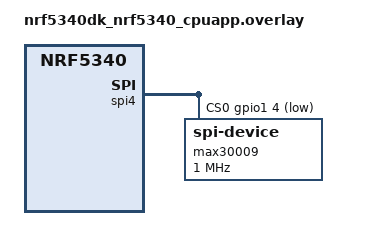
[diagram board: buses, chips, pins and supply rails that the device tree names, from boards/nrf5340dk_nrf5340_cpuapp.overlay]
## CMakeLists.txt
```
cmake_minimum_required(VERSION 3.20.0)
find_package(Zephyr REQUIRED HINTS $ENV{ZEPHYR_BASE})

project(MAX30009_nRF5340DK)

target_sources(app PRIVATE 
                src/main.c
                src/spi_functions.c
                src/max30009_bioz.c)
```

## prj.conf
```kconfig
CONFIG_SPI=y
CONFIG_GPIO=y
CONFIG_LOG=y
CONFIG_LOG_DEFAULT_LEVEL=3
CONFIG_SPI_NRFX=y
CONFIG_GPIO_NRFX=y

CONFIG_LOG_BUFFER_SIZE=4096
CONFIG_LOG_PROCESS_THREAD_STACK_SIZE=2048

CONFIG_CBPRINTF_FP_SUPPORT=y
CONFIG_FPU=y
CONFIG_NEWLIB_LIBC=y

CONFIG_CONSOLE_SUBSYS=y
CONFIG_CONSOLE_GETCHAR=y
```

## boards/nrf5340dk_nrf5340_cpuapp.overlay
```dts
&spi4 {
    status = "okay";
    cs-gpios = <&gpio1 4 GPIO_ACTIVE_LOW>;  /* P1.04 */

    max30009: max30009@0 {
        compatible = "spi-device";
        reg = <0>;
        spi-max-frequency = <1000000>;  /* 1 MHz */
    };
};
```

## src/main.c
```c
#include <zephyr/kernel.h>
#include <zephyr/logging/log.h>
#include <zephyr/console/console.h>
#include <stdbool.h>
#include <errno.h>
#include <math.h>

#include "spi_functions.h"
#include "max30009_bioz.h"

#define M_PI 3.14159265358979323846
LOG_MODULE_REGISTER(app, LOG_LEVEL_DBG);

#define NUM_SAMPLES 30

/* ------------------------------------------------------------------ */
/*  Arvutused                                                         */
/* ------------------------------------------------------------------ */

/// @brief Teisendab I ja Q näidud impedantsiks oomi-des, võttes arvesse seadistatud gain'i ja i_drive väärtust.
/// @param i_val I komponent
/// @param q_val Q komponent
/// @param gain Võimenduse väärtus
/// @param i_drive ergutusvoolu tugevuse väärtus
/// @return Impedants oomi-des
static double calc_z(int32_t i_val, int32_t q_val, double gain, double i_drive)
{
    double mag = sqrt((double)i_val * i_val + (double)q_val * q_val);
    double denom = 524288.0 * gain * (2.0 / M_PI) * i_drive;
    return mag / denom;
}

/// @brief Arvutab I ja Q näidude vahelise faasi
/// @param i_val I komponent
/// @param q_val Q komponent
/// @return Faas kraadides
static double calc_phase(int32_t i_val, int32_t q_val)
{
    return atan2((double)q_val, (double)i_val) * (180.0 / M_PI);
}

/// @brief Kontrollib, kas I või Q väärtus on lähedal maksimaalsele mõõdetavale väärtusele, mis viitab signaali küllastumisele.
/// @param i_val I komponent
/// @param q_val Q komponent
/// @return 1, kui väärtus on küllastatud, 0 muidu
static int is_saturated(int32_t i_val, int32_t q_val)
{
    if (i_val >= 507900 || q_val >= 507900) return 1;
    if (i_val <= -507900 || q_val <= -507900) return 1;
    return 0;
}

/* FIFO tühjendamine */
/// @brief Tühjendab MAX30009 FIFO, lugedes sellest näiteid seni, kuni FIFO on kas tühi või täis vigu
static void flush_fifo(void)
{
    uint8_t raw[6];

    for (int i = 0; i < 256; i++) {
        int ret = max30009_fifo_read(raw, sizeof(raw));
        if (ret) break;

        uint32_t word = ((uint32_t)raw[0] << 16) |
                        ((uint32_t)raw[1] << 8)  |
                         (uint32_t)raw[2];
        if (word >= 0xFFFFFE) break;
    }
}

/* ------------------------------------------------------------------ */
/*  Run one config                                                    */
/* ------------------------------------------------------------------ */
/// @brief Käivitab ühe konfiguratsiooni: seadistab MAX30009, laseb süsteemil stabiliseeruda, tühjendab FIFO,
/// kogub võendeid ja prindib need Exceli-sõbralikus formaadis koos arvutatud impedantsi ja faasiga
/// @param cfg_id Konfiguratsiooni ID, mis viitab bioz_configs tabeli indeksile
/// @return 0 edukas, negatiivne viga
static int run_config(int cfg_id)
{
    const struct bioz_config_info *cfg = &bioz_configs[cfg_id];
    const struct bioz_cal_info *cal = &bioz_calibrations[max30009_get_frequency()][cfg_id];
    const char *flabel = freq_configs[max30009_get_frequency()].label;
    int ret;

    printk("\n--- Configuring: %s @ %s ---\n", cfg->label, flabel);

    ret = max30009_set_config(cfg_id);
    if (ret) {
        printk("  FAILED: %d\n", ret);
        return ret;
    }

    uint8_t r22 = read_register(0x22);
    uint8_t r24 = read_register(0x24);
    printk("  0x22=0x%02X (want 0x%02X)  0x24=0x%02X (want 0x%02X)\n",
           r22, cfg->reg_0x22, r24, cfg->reg_0x24);

    printk("  Settling 2s...\n");
    k_msleep(2000);

    flush_fifo();
    printk("  FIFO flushed.\n");

    printk("  Collecting for 2s...\n");
    k_msleep(2000);

    int32_t si[NUM_SAMPLES];
    int32_t sq[NUM_SAMPLES];
    int good = 0;
    int sat_count = 0;

    for (int i = 0; i < NUM_SAMPLES; i++) {
        struct bioz_sample s;
        ret = max30009_get_bioz_sample(&s);
        if (ret) {
            printk("  Sample %d read error: %d\n", i, ret);
            break;
        }
        si[i] = s.i;
        sq[i] = s.q;
        if (is_saturated(s.i, s.q)) sat_count++;
        good++;
    }

    printk("  Read %d/%d samples (%d saturated)\n", good, NUM_SAMPLES, sat_count);

    printk("--- EXCEL START: %s @ %s ---\n", cfg->label, flabel);
    printk("Sample\tI_raw\tQ_raw\tMagnitude\tZ_meas\tZ_corr\tPhase_deg\t"
           "Config\tFreq\tI_drive_uA\tGain_VV\tSaturated\n");

    for (int j = 0; j < good; j++) {
        double mag   = sqrt((double)si[j] * si[j] + (double)sq[j] * sq[j]);
        double z     = calc_z(si[j], sq[j], cfg->gain, cfg->i_drive);
        double z_corr = (z - cal->intercept) / cal->slope;
        double phase = calc_phase(si[j], sq[j]);
        int sat      = is_saturated(si[j], sq[j]);

        int z_i  = (int)z;
        int z_f  = (int)((z - z_i) * 100);
        if (z_f < 0) z_f = -z_f;

        /* Z_corr nii, nagu faasiga allpool tehtud*/
        int zc_neg = (z_corr < 0) ? 1 : 0;
        double zc_abs = zc_neg ? -z_corr : z_corr;
        int zc_i  = (int)zc_abs;
        int zc_f  = (int)((zc_abs - zc_i) * 100);

        /*eemalda märk; absoluut värätus; täis ja murdosa eraldi*/
        int p_neg = (phase < 0) ? 1 : 0;
        double p_abs = p_neg ? -phase : phase;
        int p_i  = (int)p_abs;
        int p_f  = (int)((p_abs - p_i) * 100);

        printk("%d\t%d\t%d\t%d\t%d.%02d\t%s%d.%02d\t%s%d.%02d\t%s\t%s\t%d\t%d\t%d\n",
               j + 1, si[j], sq[j], (int)mag,
               z_i, z_f,
               zc_neg ? "-" : "", zc_i, zc_f,
               p_neg ? "-" : "", p_i, p_f,
               cfg->label,
               flabel,
               (int)(cfg->i_drive * 1e6),
               (int)(cfg->gain),
               sat);
    }
    printk("--- EXCEL END: %s @ %s ---\n", cfg->label, flabel);

    return 0;
}

/* ------------------------------------------------------------------ */
/*  Näita registreid                                                  */
/* ------------------------------------------------------------------ */
/// @brief Loeb ja prindib kõik MAX30009 registrid, kasutades register_t struktuuri tabelit, mis sisaldab registreid ja nende nimesid
void dump_registers(void)
{
    printk("\n=== KÕIK REGISTRID ===\n");
    for (size_t i = 0; i < num_registers; i++) {
        uint8_t val = read_register(registers[i].address);
        printk("%-25s 0x%02X = 0x%02X\n",
               registers[i].name, registers[i].address, val);
    }
    printk("=====================\n");
}

/* ------------------------------------------------------------------ */
/*  Mõõda kõik konfiguratsioonid jooksva sageduse jaoks               */
/* ------------------------------------------------------------------ */
/// @brief Käivitab kõik konfiguratsioonid jooksva sageduse jaoks, kutsudes run_config funktsiooni iga konfiguratsiooni ID-ga, mis on määratletud bioz_configs tabelis
/// @param freq_idx Sageduse indeks, mis viitab freq_configs tabeli indeksile
static void run_all_configs(int freq_idx)
{
    if (freq_idx == FREQ_1KHZ) {
        run_config(BIOZ_CFG_64UA_G10);
        run_config(BIOZ_CFG_64UA_G5);
        run_config(BIOZ_CFG_64UA_G2);
        run_config(BIOZ_CFG_64UA_G1);
        run_config(BIOZ_CFG_32UA_G10);
        run_config(BIOZ_CFG_32UA_G5);
        run_config(BIOZ_CFG_32UA_G2);
        run_config(BIOZ_CFG_32UA_G1);
    } else if (freq_idx == FREQ_50KHZ) {
        run_config(BIOZ_CFG_256UA_G2);
        run_config(BIOZ_CFG_256UA_G1);
        run_config(BIOZ_CFG_128UA_G5);
        run_config(BIOZ_CFG_128UA_G2);
        run_config(BIOZ_CFG_128UA_G1);
        run_config(BIOZ_CFG_64UA_G10);
        run_config(BIOZ_CFG_64UA_G5);
        run_config(BIOZ_CFG_64UA_G2);
        run_config(BIOZ_CFG_64UA_G1);
        run_config(BIOZ_CFG_32UA_G10);
        run_config(BIOZ_CFG_32UA_G5);
        run_config(BIOZ_CFG_32UA_G2);
        run_config(BIOZ_CFG_32UA_G1);
    } else if (freq_idx == FREQ_100KHZ) {
        run_config(BIOZ_CFG_256UA_G2);
        run_config(BIOZ_CFG_256UA_G1);
        run_config(BIOZ_CFG_128UA_G5);
        run_config(BIOZ_CFG_128UA_G2);
        run_config(BIOZ_CFG_128UA_G1);
        run_config(BIOZ_CFG_64UA_G10);
        run_config(BIOZ_CFG_64UA_G5);
        run_config(BIOZ_CFG_64UA_G2);
        run_config(BIOZ_CFG_64UA_G1);
        run_config(BIOZ_CFG_32UA_G10);
        run_config(BIOZ_CFG_32UA_G5);
        run_config(BIOZ_CFG_32UA_G2);
        run_config(BIOZ_CFG_32UA_G1);
    }
}

/* ------------------------------------------------------------------ */
/*  Sageduse menu                                                    */
/* ------------------------------------------------------------------ */
/// @brief Kuvab sageduse valiku menüü, kus kasutaja saab valida ühe kolme sageduse vahel või väljuda.
/// @return Valitud sageduse indeks või -1, kui kasutaja valib väljumise.
static int show_freq_menu(void)
{
    while (true) {
        printk("\n");
        printk("\n\n");
        printk("================================================\n");
        printk("  MAX30009 - Bioimpedantsi mootmine\n");
        printk("  %d voendit konfugratsiooni kohta\n", NUM_SAMPLES);
        printk("================================================\n\n");
        printk("=== SAGEDUSE VALIK ===\n");
        printk(" 1 - 1 kHz\n");
        printk(" 2 - 50 kHz\n");
        printk(" 3 - 100 kHz\n");
        printk(" q - Quit\n");
        printk("Select: ");

        uint8_t opt = console_getchar();
        printk("%c\n", opt);

        switch (opt) {
        case '1': return FREQ_1KHZ;
        case '2': return FREQ_50KHZ;
        case '3': return FREQ_100KHZ;
        case 'q':
        case 'Q': return -1;
        default:
            printk("Invalid option: %c\n", opt);
        }
    }
}

/* ------------------------------------------------------------------ */
/*  Konfiguratsiooni menu — sagedusepõhine                            */
/* ------------------------------------------------------------------ */
/// @brief Kuvab konfiguratsiooni valiku menüü, mis on kohandatud vastavalt valitud sagedusele, ja võimaldab kasutajal valida konfiguratsiooni,
/// mõõta kõiki konfiguratsioone, kuvada registreid, vahetada sagedust või väljuda
/// @param freq_idx Sageduse indeks, mis viitab freq_configs tabeli indeksile
/// @return Valitud konfiguratsiooni ID või -1, kui kasutaja valib väljumise
static int show_config_menu(int freq_idx)
{
    const char *flabel = freq_configs[freq_idx].label;

    while (true) {
        printk("\n");
        printk("=== MENÜÜ (sagedus: %s) ===\n", flabel);

        /* --- kuva menüü vastavalt sagedusele --- */
        if (freq_idx == FREQ_1KHZ) {
            printk(" 0 - 64uA  G10  (AVG Z viga -0,005 %)\n");
            printk(" 1 - 64uA  G5   (AVG Z viga -0,005 %)\n");
            printk(" 2 - 64uA  G2   (AVG Z viga  0,002 %)\n");
            printk(" 3 - 64uA  G1   (AVG Z viga -0,003 %)\n");
            printk(" 4 - 32uA  G10  (AVG Z viga -0,007 %)\n");
            printk(" 5 - 32uA  G5   (AVG Z viga  0,000 %)\n");
            printk(" 6 - 32uA  G2   (AVG Z viga -0,004 %)\n");
            printk(" 7 - 32uA  G1   (AVG Z viga  0,009 %)\n");
        } else if (freq_idx == FREQ_50KHZ) {
            printk(" 0 - 256uA G2   (AVG Z viga -0,112 %)\n");
            printk(" 1 - 256uA G1   (AVG Z viga -0,396 %)\n");
            printk(" 2 - 128uA G5   (AVG Z viga  0,102 %)\n");
            printk(" 3 - 128uA G2   (AVG Z viga  0,095 %)\n");
            printk(" 4 - 128uA G1   (AVG Z viga  0,098 %)\n");
            printk(" 5 - 64uA  G10  (AVG Z viga -0,070 %)\n");
            printk(" 6 - 64uA  G5   (AVG Z viga -0,077 %)\n");
            printk(" 7 - 64uA  G2   (AVG Z viga -0,076 %)\n");
            printk(" 8 - 64uA  G1   (AVG Z viga -0,041 %)\n");
            printk(" 9 - 32uA  G10  (AVG Z viga -0,080 %)\n");
            printk(" b - 32uA  G5   (AVG Z viga -0,073 %)\n");
            printk(" c - 32uA  G2   (AVG Z viga -0,038 %)\n");
            printk(" e - 32uA  G1   (AVG Z viga  0,144 %)\n");
        } else if (freq_idx == FREQ_100KHZ) {
            printk(" 0 - 256uA G2   (AVG Z viga -0,159 %)\n");
            printk(" 1 - 256uA G1   (AVG Z viga -0,157 %)\n");
            printk(" 2 - 128uA G5   (AVG Z viga  0,014 %)\n");
            printk(" 3 - 128uA G2   (AVG Z viga  0,014 %)\n");
            printk(" 4 - 128uA G1   (AVG Z viga  0,012 %)\n");
            printk(" 5 - 64uA  G10  (AVG Z viga -0,088 %)\n");
            printk(" 6 - 64uA  G5   (AVG Z viga -0,092 %)\n");
            printk(" 7 - 64uA  G2   (AVG Z viga -0,090 %)\n");
            printk(" 8 - 64uA  G1   (AVG Z viga -0,062 %)\n");
            printk(" 9 - 32uA  G10  (AVG Z viga -0,095 %)\n");
            printk(" b - 32uA  G5   (AVG Z viga -0,089 %)\n");
            printk(" c - 32uA  G2   (AVG Z viga -0,071 %)\n");
            printk(" e - 32uA  G1   (AVG Z viga  0,115 %)\n");
        }

        printk(" a - Mõõda kõikidel valikutel\n");
        printk(" d - Kuva registrid\n");
        printk(" v - Vaheta sagedust\n");
        printk(" q - Välju\n");
        printk("Select: ");

        uint8_t option = console_getchar();
        printk("%c\n", option);

        /* --- ühised käsud --- */
        if (option == 'a' || option == 'A') {
            run_all_configs(freq_idx);
            printk("\n=== COMPLETE ===\n");
            continue;
        }
        if (option == 'd' || option == 'D') {
            dump_registers();
            continue;
        }
        if (option == 'v' || option == 'V') {
            return 0;
        }
        if (option == 'q' || option == 'Q') {
            return 1;
        }

        /* --- sagedusepõhine konfig valik --- */
        int cfg_id = -1;

        if (freq_idx == FREQ_1KHZ) {
            switch (option) {
            case '0': cfg_id = BIOZ_CFG_64UA_G10; break;
            case '1': cfg_id = BIOZ_CFG_64UA_G5;  break;
            case '2': cfg_id = BIOZ_CFG_64UA_G2;  break;
            case '3': cfg_id = BIOZ_CFG_64UA_G1;  break;
            case '4': cfg_id = BIOZ_CFG_32UA_G10; break;
            case '5': cfg_id = BIOZ_CFG_32UA_G5;  break;
            case '6': cfg_id = BIOZ_CFG_32UA_G2;  break;
            case '7': cfg_id = BIOZ_CFG_32UA_G1;  break;
            }
        } else if (freq_idx == FREQ_50KHZ) {
            switch (option) {
            case '0': cfg_id = BIOZ_CFG_256UA_G2; break;
            case '1': cfg_id = BIOZ_CFG_256UA_G1; break;
            case '2': cfg_id = BIOZ_CFG_128UA_G5; break;
            case '3': cfg_id = BIOZ_CFG_128UA_G2; break;
            case '4': cfg_id = BIOZ_CFG_128UA_G1; break;
            case '5': cfg_id = BIOZ_CFG_64UA_G10; break;
            case '6': cfg_id = BIOZ_CFG_64UA_G5;  break;
            case '7': cfg_id = BIOZ_CFG_64UA_G2;  break;
            case '8': cfg_id = BIOZ_CFG_64UA_G1;  break;
            case '9': cfg_id = BIOZ_CFG_32UA_G10; break;
            case 'b':
            case 'B': cfg_id = BIOZ_CFG_32UA_G5;  break;
            case 'c':
            case 'C': cfg_id = BIOZ_CFG_32UA_G2;  break;
            case 'e':
            case 'E': cfg_id = BIOZ_CFG_32UA_G1;  break;
            }
        } else if (freq_idx == FREQ_100KHZ) {
            switch (option) {
            case '0': cfg_id = BIOZ_CFG_256UA_G2; break;
            case '1': cfg_id = BIOZ_CFG_256UA_G1; break;
            case '2': cfg_id = BIOZ_CFG_128UA_G5; break;
            case '3': cfg_id = BIOZ_CFG_128UA_G2; break;
            case '4': cfg_id = BIOZ_CFG_128UA_G1; break;
            case '5': cfg_id = BIOZ_CFG_64UA_G10; break;
            case '6': cfg_id = BIOZ_CFG_64UA_G5;  break;
            case '7': cfg_id = BIOZ_CFG_64UA_G2;  break;
            case '8': cfg_id = BIOZ_CFG_64UA_G1;  break;
            case '9': cfg_id = BIOZ_CFG_32UA_G10; break;
            case 'b':
            case 'B': cfg_id = BIOZ_CFG_32UA_G5;  break;
            case 'c':
            case 'C': cfg_id = BIOZ_CFG_32UA_G2;  break;
            case 'e':
            case 'E': cfg_id = BIOZ_CFG_32UA_G1;  break;
            }
        }

        if (cfg_id >= 0) {
            run_config(cfg_id);
        } else {
            printk("Invalid option: %c\n", option);
        }
    }
}

/* ------------------------------------------------------------------ */
/*  Main                                                              */
/* ------------------------------------------------------------------ */
/// @brief Peamine funktsioon, mis käivitab programmi: kuvab tervitussõnumi, initsialiseerib SPI ja konsooli, kontrollib MAX30009 olemasolu,
/// ning seejärel kuvab sageduse valiku menüü, mille kaudu kasutaja saab valida sageduse ja konfiguratsiooni, mõõta näiteid ning kuvada registreid
/// @return 0 edukas, negatiivne viga
int main(void)
{
    printk("\n\n");
    printk("================================================\n");
    printk("  MAX30009 — Bioimpedantsi mõõtmine\n");
    printk("  %d võendit konfugratsiooni kohta\n", NUM_SAMPLES);
    printk("================================================\n\n");

    int ret = spi_init();
    if (ret) { printk("SPI fail\n"); return ret; }
    k_msleep(3000);

    uint8_t id = read_register(0xFF);
    printk("Part ID: 0x%02X %s\n", id, id == 0x42 ? "(OK)" : "(BAD)");
    if (id != 0x42) return -ENODEV;

    console_init();

    while (true) {
        int freq_idx = show_freq_menu();
        if (freq_idx < 0) {
            goto pause;
        }

        max30009_set_frequency(freq_idx);

        if (show_config_menu(freq_idx) == 1) {
            goto pause;
        }
        continue;

    pause:
        printk("\n=== Menüü suletud. Vajuta klahvi taasavamiseks ===\n");
        (void)console_getchar();
    }

    /* not reached */
    return 0;
}
```

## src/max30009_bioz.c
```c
#include <zephyr/kernel.h>
#include <zephyr/drivers/spi.h>
#include <zephyr/logging/log.h>
#include <errno.h>
#include <string.h>

#include "spi_functions.h"
#include "max30009_bioz.h"

LOG_MODULE_REGISTER(max30009_bioz, LOG_LEVEL_DBG);

#define REG_FIFO_DATA_REG      0x0C
#define REG_FIFO_CONFIG_1      0x0D
#define REG_FIFO_CONFIG_2      0x0E
#define REG_SYS_CONFIG_1       0x11
#define REG_PLL_CONFIG_1       0x17
#define REG_PLL_CONFIG_2       0x18
#define REG_PLL_CONFIG_3       0x19
#define REG_PLL_CONFIG_4       0x1A
#define REG_BIOZ_CONFIG_1      0x20
#define REG_BIOZ_CONFIG_2      0x21
#define REG_BIOZ_CONFIG_3      0x22
#define REG_BIOZ_CONFIG_4      0x23
#define REG_BIOZ_CONFIG_5      0x24
#define REG_BIOZ_CONFIG_6      0x25
#define REG_BIOZ_CONFIG_7      0x28
#define REG_BIOZ_MUX_CFG_1    0x41
#define REG_BIOZ_MUX_CFG_2    0x42
#define REG_BIOZ_MUX_CFG_3    0x43
#define REG_LEAD_BIAS_CFG_1   0x58
#define REG_INT_ENABLE_1       0x80
#define REG_PART_ID            0xFF

#define MAX30009_PART_ID_VALUE  0x42
#define FIFO_TAG_I_LOAD         0x100000

extern struct spi_config spi_cfg;
extern const struct device *spi_bus;
extern void cs_select(void);
extern void cs_deselect(void);

/* ------------------------------------------------------------------ */
/*  Sagedus table                                                    */
/*                                                                     */
/*  1 kHz:   M=500, K=64, N=512,  DAC_OSR=256, ADC_OSR=512  (~62.5 sps) */
/*  50 kHz:  M=781, K=2,  N=1024, DAC_OSR=256, ADC_OSR=512  (~24.4 sps) */
/*  100 kHz: M=781, K=2,  N=1024, DAC_OSR=128, ADC_OSR=512  (~48.8 sps) */
/* ------------------------------------------------------------------ */
const struct freq_config_info freq_configs[NUM_FREQS] = {
    [FREQ_1KHZ]   = { .label = "1kHz",   .pll_cfg1 = 0x4D, .pll_cfg2 = 0xF4, .bioz_cfg1_bg_only = 0xF4, .bioz_cfg1_enable = 0xF7 },
    [FREQ_50KHZ]  = { .label = "50kHz",  .pll_cfg1 = 0xE3, .pll_cfg2 = 0x0D, .bioz_cfg1_bg_only = 0xF4, .bioz_cfg1_enable = 0xF7 },
    [FREQ_100KHZ] = { .label = "100kHz", .pll_cfg1 = 0xE3, .pll_cfg2 = 0x0D, .bioz_cfg1_bg_only = 0xB4, .bioz_cfg1_enable = 0xB7 },
};

static int current_freq = FREQ_50KHZ;  /* default at boot */

/// @brief Seadistab MAX30009 sageduse
/// @param freq_idx Sageduse indeks (FREQ_1KHZ, FREQ_50KHZ, FREQ_100KHZ)
/// @return 0 edukas, negatiivne viga
int max30009_set_frequency(int freq_idx)
{
    if (freq_idx < 0 || freq_idx >= NUM_FREQS) {
        LOG_ERR("Bad freq idx: %d", freq_idx);
        return -EINVAL;
    }
    current_freq = freq_idx;
    LOG_INF("Frequency: %s", freq_configs[freq_idx].label);
    return 0;
}

int max30009_get_frequency(void)
{
    return current_freq;
}

/* ------------------------------------------------------------------ */
/*  BioZ config table                                                 */
/* ------------------------------------------------------------------ */
/// @brief MAX30009 BioZ konfiguratsioonid
const struct bioz_config_info bioz_configs[BIOZ_NUM_CONFIGS] = {
    /* ---- Range 3: 0.27625 kΩ, 1.28 mA ---- */
    [BIOZ_CFG_1280UA_G10] = { .id =  0, .label = "1280uA_G10", .i_drive = 1.28e-3,  .gain = 10.0, .reg_0x22 = 0x3C, .reg_0x24 = 0xB3},
    [BIOZ_CFG_1280UA_G5]  = { .id =  1, .label = "1280uA_G5",  .i_drive = 1.28e-3,  .gain =  5.0, .reg_0x22 = 0x3C, .reg_0x24 = 0xB2},
    [BIOZ_CFG_1280UA_G2]  = { .id =  2, .label = "1280uA_G2",  .i_drive = 1.28e-3,  .gain =  2.0, .reg_0x22 = 0x3C, .reg_0x24 = 0xB1},
    [BIOZ_CFG_1280UA_G1]  = { .id =  3, .label = "1280uA_G1",  .i_drive = 1.28e-3,  .gain =  1.0, .reg_0x22 = 0x3C, .reg_0x24 = 0xB0},
    /* ---- Range 3: 0.27625 kΩ, 640 µA ---- */
    [BIOZ_CFG_640UA_G10]  = { .id =  4, .label = "640uA_G10",  .i_drive = 640e-6,   .gain = 10.0, .reg_0x22 = 0x2C, .reg_0x24 = 0xB3},
    [BIOZ_CFG_640UA_G5]   = { .id =  5, .label = "640uA_G5",   .i_drive = 640e-6,   .gain =  5.0, .reg_0x22 = 0x2C, .reg_0x24 = 0xB2},
    [BIOZ_CFG_640UA_G2]   = { .id =  6, .label = "640uA_G2",   .i_drive = 640e-6,   .gain =  2.0, .reg_0x22 = 0x2C, .reg_0x24 = 0xB1},
    [BIOZ_CFG_640UA_G1]   = { .id =  7, .label = "640uA_G1",   .i_drive = 640e-6,   .gain =  1.0, .reg_0x22 = 0x2C, .reg_0x24 = 0xB0},
    /* ---- Range 3: 0.27625 kΩ, 256 µA ---- */
    [BIOZ_CFG_256UA_G10]  = { .id =  8, .label = "256uA_G10",  .i_drive = 256e-6,   .gain = 10.0, .reg_0x22 = 0x1C, .reg_0x24 = 0xB3},
    [BIOZ_CFG_256UA_G5]   = { .id =  9, .label = "256uA_G5",   .i_drive = 256e-6,   .gain =  5.0, .reg_0x22 = 0x1C, .reg_0x24 = 0xB2},
    [BIOZ_CFG_256UA_G2]   = { .id = 10, .label = "256uA_G2",   .i_drive = 256e-6,   .gain =  2.0, .reg_0x22 = 0x1C, .reg_0x24 = 0xB1},
    [BIOZ_CFG_256UA_G1]   = { .id = 11, .label = "256uA_G1",   .i_drive = 256e-6,   .gain =  1.0, .reg_0x22 = 0x1C, .reg_0x24 = 0xB0},
    /* ---- Range 3: 0.27625 kΩ, 128 µA ---- */
    [BIOZ_CFG_128UA_G10]  = { .id = 12, .label = "128uA_G10",  .i_drive = 128e-6,   .gain = 10.0, .reg_0x22 = 0x0C, .reg_0x24 = 0xB3},
    [BIOZ_CFG_128UA_G5]   = { .id = 13, .label = "128uA_G5",   .i_drive = 128e-6,   .gain =  5.0, .reg_0x22 = 0x0C, .reg_0x24 = 0xB2},
    [BIOZ_CFG_128UA_G2]   = { .id = 14, .label = "128uA_G2",   .i_drive = 128e-6,   .gain =  2.0, .reg_0x22 = 0x0C, .reg_0x24 = 0xB1},
    [BIOZ_CFG_128UA_G1]   = { .id = 15, .label = "128uA_G1",   .i_drive = 128e-6,   .gain =  1.0, .reg_0x22 = 0x0C, .reg_0x24 = 0xB0},
    /* ---- Range 2: 5.525 kΩ, 64 µA ---- */
    [BIOZ_CFG_64UA_G10]   = { .id = 16, .label = "64uA_G10",   .i_drive = 64e-6,    .gain = 10.0, .reg_0x22 = 0x38, .reg_0x24 = 0xB3},
    [BIOZ_CFG_64UA_G5]    = { .id = 17, .label = "64uA_G5",    .i_drive = 64e-6,    .gain =  5.0, .reg_0x22 = 0x38, .reg_0x24 = 0xB2},
    [BIOZ_CFG_64UA_G2]    = { .id = 18, .label = "64uA_G2",    .i_drive = 64e-6,    .gain =  2.0, .reg_0x22 = 0x38, .reg_0x24 = 0xB1},
    [BIOZ_CFG_64UA_G1]    = { .id = 19, .label = "64uA_G1",    .i_drive = 64e-6,    .gain =  1.0, .reg_0x22 = 0x38, .reg_0x24 = 0xB0},
    /* ---- Range 2: 5.525 kΩ, 32 µA ---- */
    [BIOZ_CFG_32UA_G10]   = { .id = 20, .label = "32uA_G10",   .i_drive = 32e-6,    .gain = 10.0, .reg_0x22 = 0x28, .reg_0x24 = 0xB3},
    [BIOZ_CFG_32UA_G5]    = { .id = 21, .label = "32uA_G5",    .i_drive = 32e-6,    .gain =  5.0, .reg_0x22 = 0x28, .reg_0x24 = 0xB2},
    [BIOZ_CFG_32UA_G2]    = { .id = 22, .label = "32uA_G2",    .i_drive = 32e-6,    .gain =  2.0, .reg_0x22 = 0x28, .reg_0x24 = 0xB1},
    [BIOZ_CFG_32UA_G1]    = { .id = 23, .label = "32uA_G1",    .i_drive = 32e-6,    .gain =  1.0, .reg_0x22 = 0x28, .reg_0x24 = 0xB0},
    /* ---- Range 2: 5.525 kΩ, 12.8 µA ---- */
    [BIOZ_CFG_12_8UA_G10] = { .id = 24, .label = "12_8uA_G10", .i_drive = 12.8e-6,  .gain = 10.0, .reg_0x22 = 0x18, .reg_0x24 = 0xB3},
    [BIOZ_CFG_12_8UA_G5]  = { .id = 25, .label = "12_8uA_G5",  .i_drive = 12.8e-6,  .gain =  5.0, .reg_0x22 = 0x18, .reg_0x24 = 0xB2},
    [BIOZ_CFG_12_8UA_G2]  = { .id = 26, .label = "12_8uA_G2",  .i_drive = 12.8e-6,  .gain =  2.0, .reg_0x22 = 0x18, .reg_0x24 = 0xB1},
    [BIOZ_CFG_12_8UA_G1]  = { .id = 27, .label = "12_8uA_G1",  .i_drive = 12.8e-6,  .gain =  1.0, .reg_0x22 = 0x18, .reg_0x24 = 0xB0},
    /* ---- Range 2: 5.525 kΩ, 6.4 µA ---- */
    [BIOZ_CFG_6_4UA_G10]  = { .id = 28, .label = "6_4uA_G10",  .i_drive = 6.4e-6,   .gain = 10.0, .reg_0x22 = 0x08, .reg_0x24 = 0xB3},
    [BIOZ_CFG_6_4UA_G5]   = { .id = 29, .label = "6_4uA_G5",   .i_drive = 6.4e-6,   .gain =  5.0, .reg_0x22 = 0x08, .reg_0x24 = 0xB2},
    [BIOZ_CFG_6_4UA_G2]   = { .id = 30, .label = "6_4uA_G2",   .i_drive = 6.4e-6,   .gain =  2.0, .reg_0x22 = 0x08, .reg_0x24 = 0xB1},
    [BIOZ_CFG_6_4UA_G1]   = { .id = 31, .label = "6_4uA_G1",   .i_drive = 6.4e-6,   .gain =  1.0, .reg_0x22 = 0x08, .reg_0x24 = 0xB0},
};

/// @brief BioZ kalibratsioonitabel — iga konfiguratsiooni jaoks on defineeritud lineaarne kalibratsioon (slope ja intercept), 
/// mis teisendab mõõdetud väärtused tegelikuks impedantsiks oomi-des
const struct bioz_cal_info bioz_calibrations[NUM_FREQS][BIOZ_NUM_CONFIGS] = {
    [FREQ_1KHZ] = {
        [BIOZ_CFG_64UA_G10] = { .slope = 1.1062, .intercept = -3.0241 },
        [BIOZ_CFG_64UA_G5]  = { .slope = 1.1055, .intercept = -5.6845 },
        [BIOZ_CFG_64UA_G2]  = { .slope = 1.1038, .intercept = -13.8257 },
        [BIOZ_CFG_64UA_G1]  = { .slope = 1.103, .intercept = -27.1296 },
        [BIOZ_CFG_32UA_G10] = { .slope = 1.1085, .intercept = -5.669 },
        [BIOZ_CFG_32UA_G5]  = { .slope = 1.1074, .intercept = -11.0133 },
        [BIOZ_CFG_32UA_G2]  = { .slope = 1.1055, .intercept = -27.1136 },
        [BIOZ_CFG_32UA_G1]  = { .slope = 1.1047, .intercept = -53.7299 },
    },
    [FREQ_50KHZ] = {
        [BIOZ_CFG_256UA_G2] = { .slope = 1.346, .intercept = -2.493 },
        [BIOZ_CFG_256UA_G1] = { .slope = 1.345, .intercept = -6.760 },
        [BIOZ_CFG_128UA_G5] = { .slope = 1.360, .intercept = -4.279 },
        [BIOZ_CFG_128UA_G2] = { .slope = 1.357, .intercept = -9.464 },
        [BIOZ_CFG_128UA_G1] = { .slope = 1.356, .intercept = -18.059 },
        [BIOZ_CFG_64UA_G10] = { .slope = 1.383, .intercept = -0.666 },
        [BIOZ_CFG_64UA_G5]  = { .slope = 1.381, .intercept = -3.699 },
        [BIOZ_CFG_64UA_G2]  = { .slope = 1.379, .intercept = -12.848 },
        [BIOZ_CFG_64UA_G1]  = { .slope = 1.377, .intercept = -27.631 },
        [BIOZ_CFG_32UA_G10] = { .slope = 1.387, .intercept = -3.719 },
        [BIOZ_CFG_32UA_G5]  = { .slope = 1.386, .intercept = -9.817 },
        [BIOZ_CFG_32UA_G2]  = { .slope = 1.383, .intercept = -27.786 },
        [BIOZ_CFG_32UA_G1]  = { .slope = 1.379, .intercept = -54.870 },
    },
    [FREQ_100KHZ] = {
        [BIOZ_CFG_256UA_G2] = { .slope = 1.437, .intercept = -2.498 },
        [BIOZ_CFG_256UA_G1] = { .slope = 1.436, .intercept = -6.730 },
        [BIOZ_CFG_128UA_G5] = { .slope = 1.452, .intercept = -4.294 },
        [BIOZ_CFG_128UA_G2] = { .slope = 1.449, .intercept = -9.252 },
        [BIOZ_CFG_128UA_G1] = { .slope = 1.448, .intercept = -17.451 },
        [BIOZ_CFG_64UA_G10] = { .slope = 1.427, .intercept = -1.784 },
        [BIOZ_CFG_64UA_G5]  = { .slope = 1.426, .intercept = -4.835 },
        [BIOZ_CFG_64UA_G2]  = { .slope = 1.423, .intercept = -14.033 },
        [BIOZ_CFG_64UA_G1]  = { .slope = 1.421, .intercept = -28.905 },
        [BIOZ_CFG_32UA_G10] = { .slope = 1.432, .intercept = -4.939 },
        [BIOZ_CFG_32UA_G5]  = { .slope = 1.430, .intercept = -11.108 },
        [BIOZ_CFG_32UA_G2]  = { .slope = 1.427, .intercept = -29.225 },
        [BIOZ_CFG_32UA_G1]  = { .slope = 1.424, .intercept = -56.907 },
    },
};

/// @brief Seadistab MAX30009 konfiguratsiooni
/// @param reg22 BioZ voolu seadistus (0x00..0x3F)
/// @param reg24 BioZ võimenduse seadistus (0x00..0x3F)
/// @return 0 edukas, negatiivne viga
static int max30009_configure(uint8_t reg22, uint8_t reg24)
{
    const struct freq_config_info *fc = &freq_configs[current_freq];
    uint8_t id;

    /*
     * Phase 0: SAFE SHUTDOWN — Tuleb teha enne iga konfiguratsiooni, et vältida võimalikke kahjustusi või mittetoimimist.
     */
    write_register(REG_BIOZ_CONFIG_1, 0x00);   /* BioZ OFF */
    k_msleep(1);
    write_register(REG_PLL_CONFIG_1,  0x00);   /* PLL OFF  */
    k_msleep(1);

    /*
     * Phase 1: Soft reset — andmelehe lk 24 soovitus
     */
    write_register(REG_BIOZ_CONFIG_1, 0x04);   /* BG_EN = 1 only            */
    write_register(REG_SYS_CONFIG_1,  0x00);   /* SHDN = 0                  */
    write_register(REG_PLL_CONFIG_4,  0x00);   /* REF_CLK_SEL = 0           */
    k_msleep(1);
    write_register(REG_SYS_CONFIG_1,  0x01);   /* RESET = 1                 */
    k_msleep(2);

    /*
     * Phase 2: Kõikide registrite muutmine
     */
    write_register(REG_INT_ENABLE_1,   0x80);

    /* PLL — frequency-dependent */
    /* PLL — sagedusepõhine */
    write_register(REG_PLL_CONFIG_1,   fc->pll_cfg1);
    write_register(REG_PLL_CONFIG_2,   fc->pll_cfg2);
    write_register(REG_PLL_CONFIG_3,   0x01);
    write_register(REG_PLL_CONFIG_4,   0x20);

    /* BioZ — set current + gain while I/Q OFF (frequency-dependent OSR template) */
    /* BioZ — voolu- ja võimenduse seadistamine */
    write_register(REG_BIOZ_CONFIG_1,  fc->bioz_cfg1_bg_only);
    write_register(REG_BIOZ_CONFIG_2,  0x20);
    write_register(REG_BIOZ_CONFIG_3,  reg22);   /* current */
    write_register(REG_BIOZ_CONFIG_4,  0x00);
    write_register(REG_BIOZ_CONFIG_5,  reg24);   /* gain    */
    write_register(REG_BIOZ_CONFIG_6,  0xCF);
    write_register(REG_BIOZ_CONFIG_7,  0x02);

    /* MUX — Tetrapolar */
    write_register(REG_BIOZ_MUX_CFG_1, 0x06);
    write_register(REG_BIOZ_MUX_CFG_2, 0x01);
    write_register(REG_BIOZ_MUX_CFG_3, 0xA0);

    /* Lead bias */
    write_register(REG_LEAD_BIAS_CFG_1, 0x07);

    /* FIFO */
    write_register(REG_INT_ENABLE_1,   0x00);
    write_register(REG_FIFO_CONFIG_1,  0xFF);
    write_register(REG_FIFO_CONFIG_2,  0x1E);

    /* Phase 3: PLL lock */
    k_msleep(5000);

    id = read_register(REG_PART_ID);
    if (id != MAX30009_PART_ID_VALUE) {
        LOG_ERR("Part ID: 0x%02X (expected 0x42)", id);
        return -ENODEV;
    }
    k_msleep(50);

    /* Verify registers were accepted */
    /* Kontroll, kas seadistus õnnestus */
    uint8_t chk22 = read_register(REG_BIOZ_CONFIG_3);
    uint8_t chk24 = read_register(REG_BIOZ_CONFIG_5);
    if (chk22 != reg22) {
        LOG_WRN("0x22: wrote 0x%02X, read 0x%02X", reg22, chk22);
    }
    if (chk24 != reg24) {
        LOG_WRN("0x24: wrote 0x%02X, read 0x%02X", reg24, chk24);
    }

    /* Phase 4: enable — restart PLL cleanly, then BioZ last */
    /* PLL ja BioZ sisselülitamine */
    write_register(REG_SYS_CONFIG_1,   0x00);                  k_msleep(20);
    write_register(REG_PLL_CONFIG_4,   0x20);                  k_msleep(20);
    write_register(REG_PLL_CONFIG_1,   fc->pll_cfg1);          k_msleep(40);
    write_register(REG_PLL_CONFIG_2,   fc->pll_cfg2);          k_msleep(20);
    write_register(REG_BIOZ_CONFIG_1,  fc->bioz_cfg1_enable);  k_msleep(20);

    dump_registers();

    return 0;
}

/// @brief Seadistab MAX30009 konfiguratsiooni
/// @param config_id Konfiguratsiooni ID
/// @return 0 edukas, negatiivne viga
int max30009_set_config(int config_id)
{
    if (config_id < 0 || config_id >= BIOZ_NUM_CONFIGS) {
        LOG_ERR("Bad config: %d", config_id);
        return -EINVAL;
    }

    const struct bioz_config_info *cfg = &bioz_configs[config_id];
    LOG_INF("Config: %s @ %s (0x22=0x%02X, 0x24=0x%02X)",
            cfg->label, freq_configs[current_freq].label,
            cfg->reg_0x22, cfg->reg_0x24);

    int ret = max30009_configure(cfg->reg_0x22, cfg->reg_0x24);
    if (ret == 0) {
        LOG_INF("Ready: %s @ %s", cfg->label, freq_configs[current_freq].label);
    }
    return ret;
}

/* ------------------------------------------------------------------ */
/*  FIFO + sample reading                                             */
/* ------------------------------------------------------------------ */
/// @brief Loeb MAX30009 FIFO-st BioZ näidud
/// @param buf Puhver, kuhu salvestada lugemised (iga näid koosneb 6 baitist: 3 baiti I ja 3 baiti Q jaoks)
/// @param num_bytes Puhvri suurus baitides (soovitatavalt mitme näidu jagu, nt 6*10=60 baitit 10 näidu jaoks)
/// @return 0 edukas, negatiivne viga
int max30009_fifo_read(uint8_t *buf, uint16_t num_bytes)
{
    if (!buf || num_bytes == 0) return -EINVAL;

    uint8_t hdr[2] = { REG_FIFO_DATA_REG, 0x80 };
    uint8_t tx_dummy[num_bytes];
    memset(tx_dummy, 0xFF, num_bytes);

    const struct spi_buf tx_bufs[] = {
        { .buf = hdr,      .len = 2          },
        { .buf = tx_dummy, .len = num_bytes  },
    };
    const struct spi_buf rx_bufs[] = {
        { .buf = NULL, .len = 2          },
        { .buf = buf,  .len = num_bytes  },
    };
    const struct spi_buf_set tx_set = { .buffers = tx_bufs, .count = 2 };
    const struct spi_buf_set rx_set = { .buffers = rx_bufs, .count = 2 };

    cs_select();
    int ret = spi_transceive(spi_bus, &spi_cfg, &tx_set, &rx_set);
    cs_deselect();

    if (ret) LOG_ERR("FIFO read fail: %d", ret);
    return ret;
}

/// @brief 20-bitise väärtuse sign-extendimine 32-bitiseks, võttes arvesse, et sisend on tegelikult 24-bitine (3 baiti),
/// kuid ainult alumised 20 bitti on väärtus, ülejäänud on nullid või täisarvuline laiendus
/// @param raw24 24-bitine sisend, kus ainult alumised 20 bitti on mõõteväärtus
/// @return 32-bitine sign-extended väärtus
static int32_t sign_extend_20bit(uint32_t raw24)
{
    int32_t val = (int32_t)(raw24 & 0x0FFFFF);
    if (val & 0x080000) val |= 0xFFF00000;
    return val;
}

/// @brief Loeb MAX30009 FIFO-st ühe BioZ näidu ja salvestab selle struktuuri, kus on eraldi I ja Q komponendid.
/// Eeldab, et FIFO on juba õigesti seadistatud ja täidetud näitudega.
/// @param sample BioZ näidu struktuur, kuhu salvestada lugemine
/// @return 0 edukas, negatiivne viga
int max30009_get_bioz_sample(struct bioz_sample *sample)
{
    if (!sample) return -EINVAL;

    uint8_t raw[6];
    int ret = max30009_fifo_read(raw, sizeof(raw));
    if (ret) return ret;

    uint32_t w0 = ((uint32_t)raw[0]<<16)|((uint32_t)raw[1]<<8)|(uint32_t)raw[2];
    uint32_t w1 = ((uint32_t)raw[3]<<16)|((uint32_t)raw[4]<<8)|(uint32_t)raw[5];

    int32_t v0 = sign_extend_20bit(w0);
    int32_t v1 = sign_extend_20bit(w1);

    if (w0 & FIFO_TAG_I_LOAD) {
        sample->i = v0; sample->q = v1;
    } else {
        sample->i = v1; sample->q = v0;
    }
    return 0;
}
```

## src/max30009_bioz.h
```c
#ifndef MAX30009_BIOZ_H
#define MAX30009_BIOZ_H

#include <stdint.h>

struct bioz_sample {
    int32_t i;
    int32_t q;
};


// Konfiguratsioonide seadistus
enum bioz_config_id {
    /* Range 3: CDR 0.27625 kΩ */
    BIOZ_CFG_1280UA_G10 = 0,
    BIOZ_CFG_1280UA_G5,
    BIOZ_CFG_1280UA_G2,
    BIOZ_CFG_1280UA_G1,
    BIOZ_CFG_640UA_G10,
    BIOZ_CFG_640UA_G5,
    BIOZ_CFG_640UA_G2,
    BIOZ_CFG_640UA_G1,
    BIOZ_CFG_256UA_G10,
    BIOZ_CFG_256UA_G5,
    BIOZ_CFG_256UA_G2,
    BIOZ_CFG_256UA_G1,
    BIOZ_CFG_128UA_G10,
    BIOZ_CFG_128UA_G5,
    BIOZ_CFG_128UA_G2,
    BIOZ_CFG_128UA_G1,
    /* Range 2: CDR 5.525 kΩ */
    BIOZ_CFG_64UA_G10,
    BIOZ_CFG_64UA_G5,
    BIOZ_CFG_64UA_G2,
    BIOZ_CFG_64UA_G1,
    BIOZ_CFG_32UA_G10,
    BIOZ_CFG_32UA_G5,
    BIOZ_CFG_32UA_G2,
    BIOZ_CFG_32UA_G1,
    BIOZ_CFG_12_8UA_G10,
    BIOZ_CFG_12_8UA_G5,
    BIOZ_CFG_12_8UA_G2,
    BIOZ_CFG_12_8UA_G1,
    BIOZ_CFG_6_4UA_G10,
    BIOZ_CFG_6_4UA_G5,
    BIOZ_CFG_6_4UA_G2,
    BIOZ_CFG_6_4UA_G1,
    BIOZ_NUM_CONFIGS,
};

struct bioz_config_info {
    int         id;
    const char *label;
    double      i_drive;    /* amps */
    double      gain;       /* V/V  */
    uint8_t     reg_0x22;   /* drive current */
    uint8_t     reg_0x24;   /* gain + AHPF   */
};

extern const struct bioz_config_info bioz_configs[BIOZ_NUM_CONFIGS];

// Sagedusvaliku seaded
enum bioz_freq {
    FREQ_1KHZ = 0,
    FREQ_50KHZ,
    FREQ_100KHZ,
    NUM_FREQS
};

struct freq_config_info {
    const char *label;
    uint8_t pll_cfg1;
    uint8_t pll_cfg2;
    uint8_t bioz_cfg1_bg_only;
    uint8_t bioz_cfg1_enable;
};

extern const struct freq_config_info freq_configs[NUM_FREQS];

struct bioz_cal_info {
    double slope;
    double intercept;
};

extern const struct bioz_cal_info bioz_calibrations[NUM_FREQS][BIOZ_NUM_CONFIGS];

int max30009_set_frequency(int freq_idx);
int max30009_get_frequency(void);


int max30009_set_config(int config_id);
int max30009_fifo_read(uint8_t *buf, uint16_t num_bytes);
int max30009_get_bioz_sample(struct bioz_sample *sample);

#endif /* MAX30009_BIOZ_H */
```

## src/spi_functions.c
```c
#include <zephyr/kernel.h>
#include <zephyr/device.h>
#include <zephyr/drivers/spi.h>
#include <zephyr/drivers/gpio.h>
#include <errno.h>

#include "spi_functions.h"

#define MAX30009_NODE DT_NODELABEL(max30009)

static const struct gpio_dt_spec cs_gpio =
    SPI_CS_GPIOS_DT_SPEC_GET(MAX30009_NODE);

static const struct gpio_dt_spec int_gpio = {
    .port = DEVICE_DT_GET(DT_NODELABEL(gpio1)),
    .pin = 5,
    .dt_flags = GPIO_ACTIVE_LOW,
};

struct spi_config spi_cfg = {
    .frequency = 1000000,  /* 1 MHz */
    .operation = SPI_OP_MODE_MASTER | SPI_TRANSFER_MSB | SPI_WORD_SET(8),
    .slave = 0,
};
const struct device *spi_bus;
static struct gpio_callback int_cb_data;

const struct regs registers[] = 
{
    { 0x00, "Status 1"              },
    { 0x01, "Status 2"              },
    { 0x08, "FIFO Write Pointer"    },
    { 0x09, "FIFO Read Pointer"     },
    { 0x0A, "FIFO Counter 1"        },
    { 0x0B, "FIFO Counter 2"        },
    { 0x0C, "FIFO Data Register"    },
    { 0x0D, "FIFO Configuration 1"  },
    { 0x0E, "FIFO Configuration 2"  },
    { 0x10, "System Sync"           },
    { 0x11, "System Configuration 1"},
    { 0x12, "Pin Functional Cfg"    },
    { 0x13, "Output Pin Cfg"        },
    { 0x14, "I2C Broadcast Address" },
    { 0x17, "PLL Configuration 1"   },
    { 0x18, "PLL Configuration 2"   },
    { 0x19, "PLL Configuration 3"   },
    { 0x1A, "PLL Configuration 4"   },
    { 0x20, "BioZ Configuration 1"  },
    { 0x21, "BioZ Configuration 2"  },
    { 0x22, "BioZ Configuration 3"  },
    { 0x23, "BioZ Configuration 4"  },
    { 0x24, "BioZ Configuration 5"  },
    { 0x25, "BioZ Configuration 6"  },
    { 0x26, "BioZ Low Threshold"    },
    { 0x27, "BioZ High Threshold"   },
    { 0x28, "BioZ Configuration 7"  },
    { 0x41, "BioZ Mux Cfg 1"        },
    { 0x42, "BioZ Mux Cfg 2"        },
    { 0x43, "BioZ Mux Cfg 3"        },
    { 0x44, "BioZ Mux Cfg 4"        },
    { 0x50, "DC Leads Configuration" },
    { 0x51, "DC Lead Detect Thresh"  },
    { 0x58, "Lead Bias Cfg 1"       },
    { 0x80, "Interrupt Enable 1"    },
    { 0x81, "Interrupt Enable 2"    },
    { 0xFF, "Part ID"               },
};

const size_t num_registers = sizeof(registers) / sizeof(registers[0]);

void cs_select(void)
{
    gpio_pin_set_dt(&cs_gpio, 1);
    k_busy_wait(10);  // Short delay to ensure CS is recognized
}

void cs_deselect(void)
{
    k_busy_wait(10);  // Short delay to ensure last SPI operation completes
    gpio_pin_set_dt(&cs_gpio, 0);
}

int spi_init(void)
{
    spi_bus = DEVICE_DT_GET(DT_BUS(MAX30009_NODE));
    if (!device_is_ready(spi_bus)) {
        printk("Failed to get SPI bus device\n");
        return -ENODEV;
    }

    if (!gpio_is_ready_dt(&cs_gpio)) {
        printk("CS GPIO not ready\n");
        return -ENODEV;
    }
    gpio_pin_configure_dt(&cs_gpio, GPIO_OUTPUT_INACTIVE);

    return 0;
}

/// @brief Loeb MAX30009 registri väärtuse, kasutades SPI transceive'i, kus saadetakse registeri aadress koos lugemisbitiga ja vastu võetakse registeri väärtus
/// @param address Registeri aadress, mida soovitakse lugeda
/// @return Registeri väärtus, mida loeti, või 0xFF, kui lugemine ebaõnnestus
uint8_t read_register(uint8_t address)
{
    uint8_t tx_buf[3] = {address, 0x80, 0xFF};
    uint8_t rx_buf[3] = {0};

    const struct spi_buf tx_spi = {.buf = tx_buf, .len = 3};
    const struct spi_buf rx_spi = {.buf = rx_buf, .len = 3};
    const struct spi_buf_set tx_set = {.buffers = &tx_spi, .count = 1};
    const struct spi_buf_set rx_set = {.buffers = &rx_spi, .count = 1};

    cs_select();
    spi_transceive(spi_bus, &spi_cfg, &tx_set, &rx_set);
    cs_deselect();

    return rx_buf[2];  // The last byte contains the register value
}

/// @brief Kirjutab MAX30009 registri väärtuse, kasutades SPI write'i, kus saadetakse registeri aadress
/// koos kirjutamisbitiga ja väärtus, mida soovitakse kirjutada
/// @param address Registeri aadress, mida soovitakse kirjutada
/// @param value Väärtus, mida soovitakse registerisse kirjutada
void write_register(uint8_t address, uint8_t value)
{
    uint8_t tx_buf[3] = {address, 0x00, value};

    const struct spi_buf tx_spi = {.buf = tx_buf, .len = 3};
    const struct spi_buf_set tx_set = {.buffers = &tx_spi, .count = 1};

    cs_select();
    spi_write(spi_bus, &spi_cfg, &tx_set);
    cs_deselect();
}

static void max30009_int_handler(const struct device *dev,
                                  struct gpio_callback *cb,
                                  uint32_t pins)
{
    /* INT pin fired — FIFO almost full, read data here */
    printk("MAX30009 interrupt triggered\n");

    /* TODO: read FIFO data or set a flag/semaphore 
       to handle it in a thread instead */
    
}

void interrupt_init(void)
{
    if (!gpio_is_ready_dt(&int_gpio)) { 
        printk("INT GPIO not ready\n");
        return;
    }
    gpio_pin_configure_dt(&int_gpio, GPIO_INPUT);
    gpio_pin_interrupt_configure_dt(&int_gpio, GPIO_INT_EDGE_TO_ACTIVE);

    gpio_init_callback(&int_cb_data, max30009_int_handler, BIT(int_gpio.pin));
    gpio_add_callback(int_gpio.port, &int_cb_data);
}
```

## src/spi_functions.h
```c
#ifndef SPI_FUNCTIONS_H
#define SPI_FUNCTIONS_H
#include <stdint.h>
#include <stddef.h>

struct regs {
    uint8_t address;
    const char *name;
};

extern const struct regs registers[];
extern const size_t num_registers;

int spi_init(void);
uint8_t read_register(uint8_t address);
void write_register(uint8_t address, uint8_t value);
void interrupt_init(void);
void dump_registers(void);

#endif /* SPI_FUNCTIONS_H */
```
